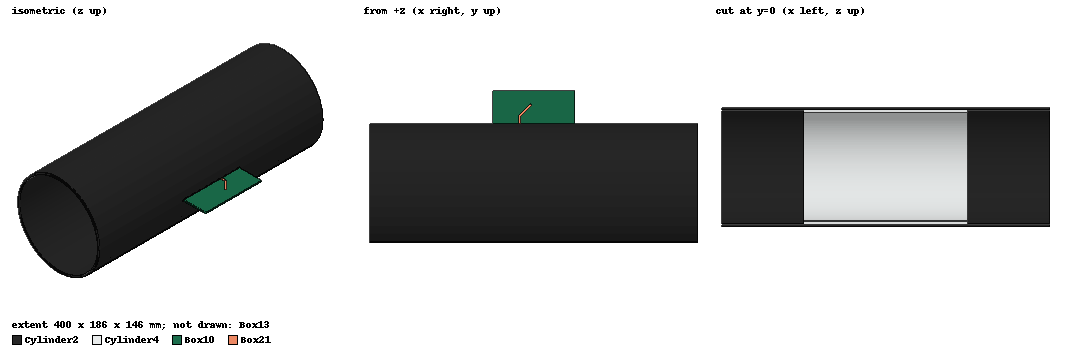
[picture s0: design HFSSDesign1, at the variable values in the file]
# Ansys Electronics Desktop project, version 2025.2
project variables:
  $length = 32mm
  $width = 32mm
  $Indent = 10mm
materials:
  vacuum: permittivity=1
  copper: permeability=0.999991 conductivity=58000000
  air: permittivity=1.0006 permeability=1.0000004
  graphite: conductivity=70000
  FR4_epoxy: permittivity=4.4 dielectric_loss_tangent=0.02
  cast_iron: permeability=60 conductivity=1500000
  CF - Carbon fiber: conductivity=252.337
  aluminum: permeability=1.000021 conductivity=38000000

design HFSSDesign1 (HFSS, HFSS Terminal Network, model units mm)
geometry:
  Box10 [FR4_epoxy] = box(corner=(50mm, (73+40) mm, 0.8mm), size=(-100mm, -40mm, -1.6mm))
  Cylinder2 [CF - Carbon fiber] = cylinder(axis=X, base_centre=(-200mm, 0mm, 0mm), radius=73mm, height=400mm, segments=32)
  Cylinder3 = cylinder(axis=X, base_centre=(200mm, 0mm, 0mm), radius=70mm, height=-400mm)
  Cylinder2.subtract(Cylinder3)
  Box13 [air] = box(corner=(-250mm, 200mm, 100mm), size=(500mm, -400mm, -200mm))
  Box14 [copper] = box(corner=(50mm, 73mm, -0.8mm), size=(-100mm, 40mm, -0.035mm))
  Cylinder4 [aluminum] = cylinder(axis=X, base_centre=(-100mm, 0mm, 0mm), radius=70mm, height=200mm, segments=32)
  Cylinder5 = cylinder(axis=X, base_centre=(100mm, 0mm, 0mm), radius=66.5mm, height=-200mm)
  Cylinder4.subtract(Cylinder5)
  Box15 = box(corner=(50mm, 113mm, 0.035mm), size=($width, $length, 0mm))
  Box16 = box(corner=(52mm, 115mm, 0.035mm), size=($length-4mm, $width-4mm, 0mm))
  Box17 = box(corner=(65mm, 113mm, 0.035mm), size=(2mm, 10mm, 0mm))
  Box18 = box(corner=(67mm, 113mm, 0.035mm), size=(2mm, $Indent, 0mm))
  Box19 = box(corner=(63mm, 113mm, 0.035mm), size=(2mm, $Indent, 0mm))
  Box15.subtract(Box16, Box17)
  Box15.unite(Box18, Box19)
  Box15.move(-66mm, -65mm, -0.835mm)
  coordinate_system RelativeCS1 = origin=(16mm, 76mm, -0.8mm) x=(1mm, 0mm, 0mm) y=(0mm, 1mm, 0mm)
  Box15.rotate(axis=Z, angle=-90deg) in RelativeCS1
  Box20 = box(corner=(-2mm, 90.5mm, 0.8mm), size=(-20mm, 3mm, 0.035mm))
  coordinate_system RelativeCS2 = origin=(0mm, 0mm, 0mm) x=(-4mm, 4mm, 0mm) y=(-14mm, -2mm, 0mm)
  coordinate_system RelativeCS3 = origin=(70.003571mm, -60.104076mm, -0.835mm) x=(1mm, 0mm, 0mm) y=(0mm, 1mm, 0mm) in RelativeCS2
  Box20.rotate(axis=Z, angle=45deg) in RelativeCS3
  Box21 [copper] = box(corner=(-34.667262mm, 6.4540585mm, 1.6mm), size=(3mm, -9.4540585mm, 0.035mm)) in RelativeCS1
  Box21.unite(Box20)
  Rectangle1 = rectangle(corner=(-31.667262mm, -3mm, 1.635mm), z_size=-1.67mm, x_size=-3mm) in RelativeCS1
  Box15.thicken(35um)
  Box14.subtract(Box15)
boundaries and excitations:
  Rad1: Radiation Objects=Box13
  Box21_T1: Terminal port=1 Faces=Box21.face(at (-17.1673, 73, 0.8175)) TerminalResistance=50ohm
  1: Lumped Port Faces=Rectangle1.face LumpedPortType=Terminal Impedance=50ohm
  reference conductors: Box14
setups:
  Setup1: HfssDriven Frequency=1.575GHz MaxDeltaS=0.02 MaximumPasses=10 MinimumPasses=1 MinimumConvergedPasses=1 PercentRefinement=30 BasisOrder=1 PortAccuracy=2 DrivenSolverType="Direct Solver"
    sweep Sweep: 1000MHz to 2000MHz, 100 points; Type=Interpolating InterpTolerance=0.5 InterpMaxSolns=50 PassivityErrorTolerance=0.0001
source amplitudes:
  1:1: 1V 0deg
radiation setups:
  Infinite Sphere1: Infinite Sphere Theta=0deg..180deg step 2deg Phi=-180deg..180deg step 2deg
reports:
  Terminal S Parameter Plot1: dB(St(Box21_T1,Box21_T1)) vs Freq on Setup1 : Sweep
  Terminal VSWR Plot1: VSWRt(Box21_T1) vs Freq on Setup1 : Sweep
  Gain Plot2: dB(GainTotal) vs Phi, Theta on Setup1 : LastAdaptive, Infinite Sphere1 [Freq=1.575GHz]
  Gain Plot3: GainRHCP vs Phi, Theta on Setup1 : LastAdaptive, Infinite Sphere1 [Freq=1.575GHz]
  Gain Plot4: GainLHCP vs Phi, Theta on Setup1 : LastAdaptive, Infinite Sphere1 [Freq=1.575GHz]
